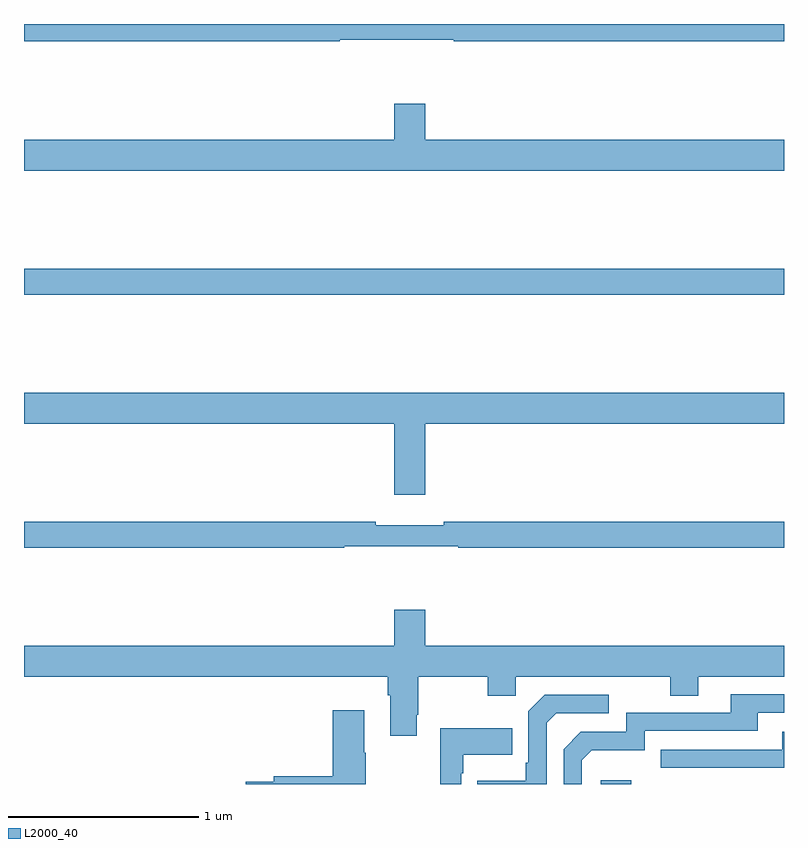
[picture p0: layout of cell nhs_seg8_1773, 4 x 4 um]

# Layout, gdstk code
import gdstk
lib = gdstk.Library(unit=1e-6, precision=1e-09)
def R(c, l, rs):  # rectangles x0, y0, x1, y1
    for r in rs: c.add(gdstk.rectangle(r[:2], r[2:], *l))
def P(c, l, *ps):  # polygons
    for p in ps: c.add(gdstk.Polygon(p, *l))
L2000_40 = (2000, 40)

nhs_seg8_1773 = lib.new_cell('nhs_seg8_1773')
R(nhs_seg8_1773, L2000_40, [(226.035,1151.9,226.196,1151.92), (223,1154.476,227,1154.612)])
P(nhs_seg8_1773, L2000_40, [(224.662,1155.816),(225.262,1155.816),(225.262,1155.808),(227,1155.808),(227,1155.9),(223,1155.9),(223,1155.808),(224.662,1155.808)],
  [(227,1155.292),(225.112,1155.292),(225.112,1155.481),(224.948,1155.481),(224.948,1155.292),(223,1155.292),(223,1155.128),(227,1155.128)],
  [(225.112,1153.796),(227,1153.796),(227,1153.96),(223,1153.96),(223,1153.796),(224.948,1153.796),(224.948,1153.422),(225.112,1153.422)],
  [(224.686,1153.152),(225.286,1153.152),(225.286,1153.144),(227,1153.144),(227,1153.28),(225.208,1153.28),(225.208,1153.261),(224.852,1153.261),(224.852,1153.28),(223,1153.28),(223,1153.144),(224.686,1153.144)],
  [(225.067,1152.265),(225.075,1152.265),(225.075,1152.464),(225.442,1152.464),(225.442,1152.365),(225.588,1152.365),(225.588,1152.464),(226.402,1152.464),(226.402,1152.365),(226.549,1152.365),(226.549,1152.464),(227,1152.464),(227,1152.628),(225.112,1152.628),(225.112,1152.817),(224.948,1152.817),(224.948,1152.628),(223,1152.628),(223,1152.464),(224.915,1152.464),(224.915,1152.368),(224.927,1152.368),(224.927,1152.153),(225.067,1152.153)],
  [(225.936,1152.024),(225.989,1152.077),(226.266,1152.077),(226.266,1152.18),(226.861,1152.18),(226.861,1152.276),(227,1152.276),(227,1152.372),(226.721,1152.372),(226.721,1152.276),(226.17,1152.276),(226.17,1152.174),(225.93,1152.174),(225.84,1152.084),(225.84,1151.9),(225.936,1151.9)],
  [(225.75,1152.222),(225.801,1152.273),(226.078,1152.273),(226.078,1152.369),(225.741,1152.369),(225.654,1152.282),(225.654,1152.013),(225.642,1152.013),(225.642,1151.917),(225.385,1151.917),(225.385,1151.9),(225.75,1151.9)],
  [(224.799,1152.065),(224.791,1152.065),(224.791,1152.289),(224.624,1152.289),(224.624,1151.942),(224.315,1151.942),(224.315,1151.912),(224.166,1151.912),(224.166,1151.9),(224.799,1151.9)],
  [(225.3,1151.957),(225.313,1151.957),(225.313,1152.053),(225.569,1152.053),(225.569,1152.193),(225.192,1152.193),(225.192,1151.9),(225.3,1151.9)],
  [(227,1152.175),(226.991,1152.175),(226.991,1152.081),(226.351,1152.081),(226.351,1151.985),(227,1151.985)])

lib.write_gds('nhs_seg8_1773.gds')
